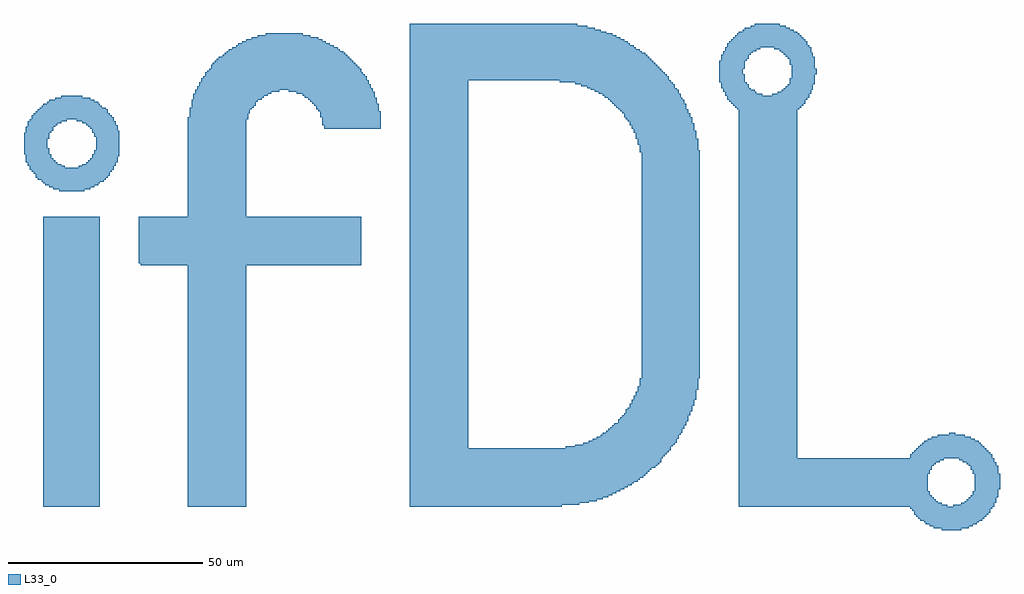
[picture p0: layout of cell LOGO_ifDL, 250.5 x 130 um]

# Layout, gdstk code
import gdstk
lib = gdstk.Library(unit=1e-6, precision=1e-09)
def R(c, l, rs):  # rectangles x0, y0, x1, y1
    for r in rs: c.add(gdstk.rectangle(r[:2], r[2:], *l))
def A(c, l, x, y, w, h, nx, ny, dx, dy):  # array of equal rectangles
    R(c, l, [(x+i*dx, y+j*dy, x+i*dx+w, y+j*dy+h) for i in range(nx) for j in range(ny)])
L33_0 = (33, 0)

logo_ifdl = lib.new_cell('LOGO_ifDL')
A(logo_ifdl, L33_0, 16.5, -126.5, 14.5, 0.5, 1, 149, 0, 0.5)
A(logo_ifdl, L33_0, 53.5, -126.5, 15, 0.5, 1, 124, 0, 0.5)
A(logo_ifdl, L33_0, 195, -122.5, 48.5, 0.5, 1, 9, 0, 0.5)
A(logo_ifdl, L33_0, 255.5, -122, 6.5, 0.5, 1, 8, 0, 0.5)
A(logo_ifdl, L33_0, 195, -114, 15, 0.5, 1, 179, 0, 0.5)
A(logo_ifdl, L33_0, 110.5, -111.5, 15, 0.5, 1, 189, 0, 0.5)
A(logo_ifdl, L33_0, 169.5, -95.5, 15, 0.5, 1, 4, 0, 0.5)
A(logo_ifdl, L33_0, 170, -93.5, 15, 0.5, 1, 116, 0, 0.5)
A(logo_ifdl, L33_0, 41, -64, 57, 0.5, 1, 24, 0, 0.5)
A(logo_ifdl, L33_0, 53.5, -52, 15, 0.5, 1, 50, 0, 0.5)
A(logo_ifdl, L33_0, 11.5, -36, 6.5, 0.5, 1, 3, 0, 0.5)
A(logo_ifdl, L33_0, 30, -35, 6, 0.5, 1, 7, 0, 0.5)
A(logo_ifdl, L33_0, 169.5, -35, 15, 0.5, 1, 3, 0, 0.5)
A(logo_ifdl, L33_0, 11.5, -34.5, 6, 0.5, 1, 5, 0, 0.5)
A(logo_ifdl, L33_0, 169, -33.5, 15.5, 0.5, 1, 3, 0, 0.5)
A(logo_ifdl, L33_0, 11.5, -32, 6.5, 0.5, 1, 3, 0, 0.5)
A(logo_ifdl, L33_0, 168.5, -32, 15.5, 0.5, 1, 3, 0, 0.5)
A(logo_ifdl, L33_0, 88, -28.5, 15, 0.5, 1, 4, 0, 0.5)
A(logo_ifdl, L33_0, 87.5, -26.5, 15.5, 0.5, 1, 3, 0, 0.5)
A(logo_ifdl, L33_0, 208, -18, 6.5, 0.5, 1, 3, 0, 0.5)
A(logo_ifdl, L33_0, 190, -17.5, 6.5, 0.5, 1, 4, 0, 0.5)
A(logo_ifdl, L33_0, 190, -15.5, 6, 0.5, 1, 3, 0, 0.5)
A(logo_ifdl, L33_0, 208.5, -15.5, 6.5, 0.5, 1, 3, 0, 0.5)
A(logo_ifdl, L33_0, 190, -14, 6.5, 0.5, 1, 4, 0, 0.5)
A(logo_ifdl, L33_0, 208, -13, 6.5, 0.5, 1, 3, 0, 0.5)
R(logo_ifdl, L33_0, [(247,-132.5,252,-132), (245,-132,254,-131.5), (244,-131.5,255,-131), (243,-131,256,-130.5), (242.5,-130.5,256.5,-130), (241.5,-130,257.5,-129.5), (241,-129.5,258,-129), (240.5,-129,258.5,-128.5), (240,-128.5,259,-128), (240,-128,259.5,-127.5), (239.5,-127.5,259.5,-127), (239,-127,260,-126.5), (110.5,-126.5,149.5,-126), (195,-126.5,248.5,-126), (250,-126.5,260.5,-126), (110.5,-126,154,-125.5), (195,-126,247,-125.5), (252,-126,260.5,-125.5), (110.5,-125.5,156.5,-125), (195,-125.5,246,-125), (253,-125.5,261,-125), (110.5,-125,158.5,-124.5), (195,-125,245.5,-124.5), (253.5,-125,261,-124.5), (110.5,-124.5,160,-124), (195,-124.5,245,-124), (254,-124.5,261,-124), (110.5,-124,161.5,-123.5), (195,-124,244.5,-123.5), (254.5,-124,261.5,-123.5), (110.5,-123.5,162.5,-123), (195,-123.5,244,-123), (255,-123.5,261.5,-123), (110.5,-123,163.5,-122.5), (195,-123,244,-122.5), (255,-123,261.5,-122.5), (110.5,-122.5,164.5,-122), (255.5,-122.5,261.5,-122), (110.5,-122,165.5,-121.5), (110.5,-121.5,166.5,-121), (110.5,-121,167.5,-120.5), (110.5,-120.5,168,-120), (110.5,-120,169,-119.5), (110.5,-119.5,169.5,-119), (110.5,-119,170.5,-118.5), (110.5,-118.5,171,-118), (110.5,-118,171.5,-117.5), (195,-118,244,-117.5), (255,-118,261.5,-117.5), (110.5,-117.5,172,-117), (195,-117.5,244,-117), (255,-117.5,261.5,-117), (110.5,-117,172.5,-116.5), (195,-117,244.5,-116.5), (254.5,-117,261.5,-116.5), (110.5,-116.5,173.5,-116), (195,-116.5,244.5,-116), (254.5,-116.5,261.5,-116), (110.5,-116,174,-115.5), (195,-116,245,-115.5), (254,-116,261,-115.5), (110.5,-115.5,174.5,-115), (195,-115.5,245.5,-115), (253.5,-115.5,261,-115), (110.5,-115,175,-114.5), (195,-115,246.5,-114.5), (252.5,-115,260.5,-114.5), (110.5,-114.5,175,-114), (195,-114.5,247.5,-114), (251.5,-114.5,260.5,-114), (110.5,-114,175.5,-113.5), (239,-114,260,-113.5), (110.5,-113.5,176,-113), (239,-113.5,260,-113), (110.5,-113,176.5,-112.5), (239.5,-113,259.5,-112.5), (110.5,-112.5,177,-112), (240,-112.5,259,-112), (110.5,-112,177.5,-111.5), (240.5,-112,258.5,-111.5), (150.5,-111.5,177.5,-111), (241,-111.5,258,-111), (153,-111,178,-110.5), (241.5,-111,257.5,-110.5), (155,-110.5,178.5,-110), (242,-110.5,257,-110), (156.5,-110,179,-109.5), (242.5,-110,256.5,-109.5), (157.5,-109.5,179,-109), (243.5,-109.5,255.5,-109), (158.5,-109,179.5,-108.5), (244.5,-109,254.5,-108.5), (159.5,-108.5,179.5,-108), (246,-108.5,253,-108), (160,-108,180,-107.5), (249,-108,250.5,-107.5), (161,-107.5,180.5,-107), (161.5,-107,180.5,-106.5), (162,-106.5,181,-106), (162.5,-106,181,-105.5), (163,-105.5,181.5,-105), (164,-105,181.5,-104.5), (164,-104.5,182,-104), (164.5,-104,182,-103.5), (165,-103.5,182,-103), (165.5,-103,182.5,-102.5), (166,-102.5,182.5,-102), (166,-102,183,-101.5), (166.5,-101.5,183,-101), (167,-101,183,-100.5), (167,-100.5,183.5,-100), (167.5,-100,183.5,-99.5), (167.5,-99.5,183.5,-99), (168,-99,184,-98.5), (168,-98.5,184,-98), (168.5,-98,184,-97.5), (168.5,-97.5,184,-97), (169,-97,184,-96.5), (169,-96.5,184.5,-96), (169,-96,184.5,-95.5), (41.5,-64.5,98,-64), (20.5,-45.5,27,-45), (19,-45,28.5,-44.5), (18,-44.5,29.5,-44), (17,-44,30.5,-43.5), (16.5,-43.5,31,-43), (16,-43,32,-42.5), (15,-42.5,32.5,-42), (14.5,-42,33,-41.5), (14.5,-41.5,33.5,-41), (14,-41,33.5,-40.5), (13.5,-40.5,34,-40), (13,-40,34.5,-39.5), (13,-39.5,22,-39), (25.5,-39.5,34.5,-39), (12.5,-39,21,-38.5), (26.5,-39,35,-38.5), (12.5,-38.5,20,-38), (27.5,-38.5,35,-38), (12,-38,19.5,-37.5), (28,-38,35.5,-37.5), (12,-37.5,19,-37), (28.5,-37.5,35.5,-37), (12,-37,18.5,-36.5), (29,-37,35.5,-36.5), (12,-36.5,18.5,-36), (29,-36.5,36,-36), (29.5,-36,36,-35.5), (29.5,-35.5,36,-35), (169.5,-35.5,185,-35), (29.5,-31.5,36,-31), (29.5,-31,36,-30.5), (12,-30.5,18.5,-30), (29,-30.5,36,-30), (168,-30.5,184,-30), (12,-30,19,-29.5), (29,-30,35.5,-29.5), (168,-30,183.5,-29.5), (12,-29.5,19,-29), (28.5,-29.5,35.5,-29), (88.5,-29.5,103,-29), (167.5,-29.5,183.5,-29), (12.5,-29,19.5,-28.5), (28,-29,35.5,-28.5), (88.5,-29,103,-28.5), (167.5,-29,183.5,-28.5), (12.5,-28.5,20,-28), (27.5,-28.5,35,-28), (167,-28.5,183.5,-28), (12.5,-28,21,-27.5), (26.5,-28,35,-27.5), (167,-28,183,-27.5), (13,-27.5,22.5,-27), (25,-27.5,34.5,-27), (166.5,-27.5,183,-27), (13.5,-27,34.5,-26.5), (53.5,-27,69,-26.5), (166,-27,183,-26.5), (13.5,-26.5,34,-26), (54,-26.5,69,-26), (165.5,-26.5,182.5,-26), (14,-26,33.5,-25.5), (54,-26,69,-25.5), (165.5,-26,182.5,-25.5), (14.5,-25.5,33,-25), (54,-25.5,69.5,-25), (165,-25.5,182,-25), (15,-25,33,-24.5), (54,-25,69.5,-24.5), (87,-25,102.5,-24.5), (164.5,-25,182,-24.5), (15.5,-24.5,32.5,-24), (54,-24.5,70,-24), (86.5,-24.5,102.5,-24), (164,-24.5,181.5,-24), (194.5,-24.5,210.5,-24), (16,-24,31.5,-23.5), (54.5,-24,70.5,-23.5), (86.5,-24,102.5,-23.5), (163.5,-24,181.5,-23.5), (194,-24,211,-23.5), (16.5,-23.5,31,-23), (54.5,-23.5,71,-23), (86,-23.5,102.5,-23), (163,-23.5,181.5,-23), (193.5,-23.5,211.5,-23), (17.5,-23,30.5,-22.5), (54.5,-23,71,-22.5), (85.5,-23,102,-22.5), (162.5,-23,181,-22.5), (193,-23,212,-22.5), (18,-22.5,29.5,-22), (54.5,-22.5,71.5,-22), (85,-22.5,102,-22), (162,-22.5,181,-22), (192.5,-22.5,212,-22), (19.5,-22,28.5,-21.5), (55,-22,72.5,-21.5), (84.5,-22,102,-21.5), (161.5,-22,180.5,-21.5), (192,-22,212.5,-21.5), (21,-21.5,26.5,-21), (55,-21.5,73,-21), (83.5,-21.5,101.5,-21), (160.5,-21.5,180,-21), (192,-21.5,213,-21), (55,-21,74,-20.5), (83,-21,101.5,-20.5), (160,-21,180,-20.5), (191.5,-21,201,-20.5), (203.5,-21,213,-20.5), (55.5,-20.5,75,-20), (81.5,-20.5,101.5,-20), (159,-20.5,179.5,-20), (191.5,-20.5,199.5,-20), (205,-20.5,213.5,-20), (55.5,-20,77,-19.5), (79.5,-20,101,-19.5), (158,-20,179.5,-19.5), (191,-20,199,-19.5), (206,-20,213.5,-19.5), (56,-19.5,101,-19), (157,-19.5,179,-19), (191,-19.5,198,-19), (206.5,-19.5,214,-19), (56,-19,100.5,-18.5), (156,-19,178.5,-18.5), (190.5,-19,197.5,-18.5), (207,-19,214,-18.5), (56.5,-18.5,100.5,-18), (154.5,-18.5,178.5,-18), (190.5,-18.5,197.5,-18), (207.5,-18.5,214,-18), (56.5,-18,100,-17.5), (153,-18,178,-17.5), (190.5,-18,197,-17.5), (57,-17.5,100,-17), (149,-17.5,177.5,-17), (57,-17,99.5,-16.5), (110.5,-17,177,-16.5), (57.5,-16.5,99.5,-16), (110.5,-16.5,177,-16), (208.5,-16.5,214.5,-16), (58,-16,99,-15.5), (110.5,-16,176.5,-15.5), (208.5,-16,214.5,-15.5), (58,-15.5,98.5,-15), (110.5,-15.5,176,-15), (58.5,-15,98,-14.5), (110.5,-15,175.5,-14.5), (59,-14.5,98,-14), (110.5,-14.5,175,-14), (59.5,-14,97.5,-13.5), (110.5,-14,174.5,-13.5), (208.5,-14,214.5,-13.5), (59.5,-13.5,97,-13), (110.5,-13.5,174,-13), (208.5,-13.5,214.5,-13), (60,-13,96.5,-12.5), (110.5,-13,173.5,-12.5), (60.5,-12.5,96,-12), (110.5,-12.5,173,-12), (61,-12,95.5,-11.5), (110.5,-12,172.5,-11.5), (190.5,-12,197,-11.5), (61.5,-11.5,95,-11), (110.5,-11.5,172,-11), (190.5,-11.5,197.5,-11), (207.5,-11.5,214.5,-11), (62.5,-11,94.5,-10.5), (110.5,-11,171.5,-10.5), (190.5,-11,197.5,-10.5), (207,-11,214,-10.5), (63,-10.5,94,-10), (110.5,-10.5,171,-10), (191,-10.5,198,-10), (206.5,-10.5,214,-10), (63.5,-10,93.5,-9.5), (110.5,-10,170,-9.5), (191,-10,198.5,-9.5), (206,-10,213.5,-9.5), (64,-9.5,92.5,-9), (110.5,-9.5,169.5,-9), (191.5,-9.5,199.5,-9), (205.5,-9.5,213.5,-9), (65,-9,92,-8.5), (110.5,-9,168.5,-8.5), (191.5,-9,200.5,-8.5), (204,-9,213.5,-8.5), (66,-8.5,91,-8), (110.5,-8.5,168,-8), (192,-8.5,213,-8), (66.5,-8,90,-7.5), (110.5,-8,167,-7.5), (192,-8,212.5,-7.5), (67.5,-7.5,89,-7), (110.5,-7.5,166.5,-7), (192.5,-7.5,212.5,-7), (68.5,-7,88,-6.5), (110.5,-7,165.5,-6.5), (193,-7,212,-6.5), (70,-6.5,87,-6), (110.5,-6.5,164.5,-6), (193.5,-6.5,211.5,-6), (71.5,-6,85,-5.5), (110.5,-6,163.5,-5.5), (194,-6,211,-5.5), (73.5,-5.5,83,-5), (110.5,-5.5,162.5,-5), (194.5,-5.5,210.5,-5), (110.5,-5,161,-4.5), (195,-5,210,-4.5), (110.5,-4.5,159.5,-4), (196,-4.5,209,-4), (110.5,-4,158,-3.5), (196.5,-4,208,-3.5), (110.5,-3.5,156,-3), (198,-3.5,207,-3), (110.5,-3,153.5,-2.5), (199,-3,205.5,-2.5)])

lib.write_gds('LOGO_ifDL.gds')
